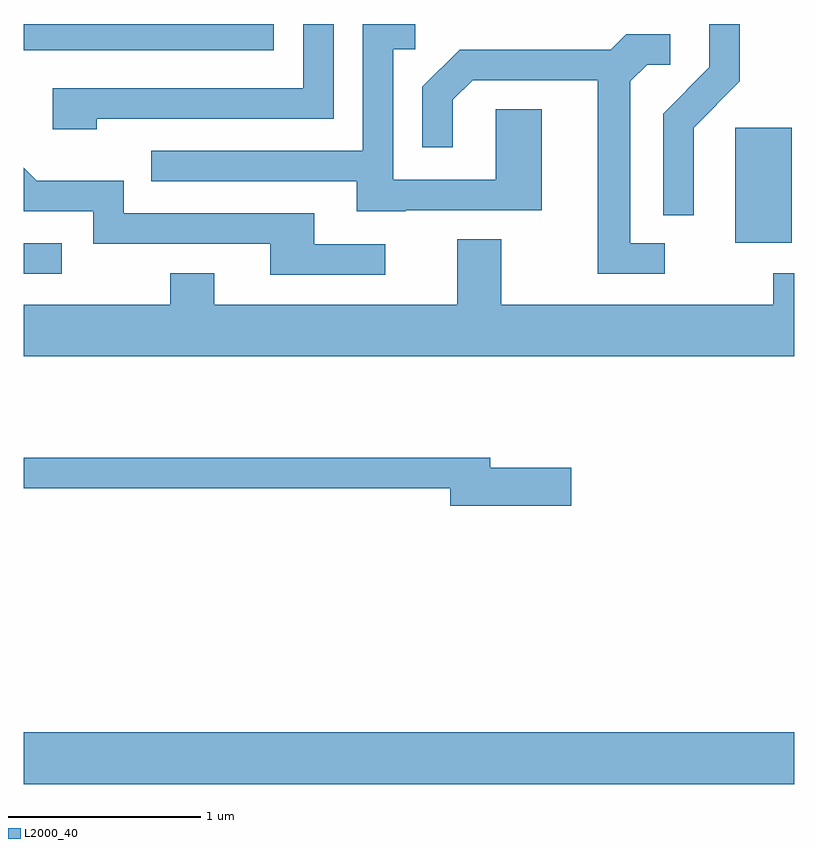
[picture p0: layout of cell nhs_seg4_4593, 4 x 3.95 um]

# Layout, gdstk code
import gdstk
lib = gdstk.Library(unit=1e-6, precision=1e-09)
def R(c, l, rs):  # rectangles x0, y0, x1, y1
    for r in rs: c.add(gdstk.rectangle(r[:2], r[2:], *l))
def P(c, l, *ps):  # polygons
    for p in ps: c.add(gdstk.Polygon(p, *l))
L2000_40 = (2000, 40)

nhs_seg4_4593 = lib.new_cell('nhs_seg4_4593')
R(nhs_seg4_4593, L2000_40, [(319.611,1328.036,323.611,1328.304), (319.611,1330.686,319.808,1330.844), (323.306,1330.846,323.599,1331.444), (319.611,1331.846,320.909,1331.982)])
P(nhs_seg4_4593, L2000_40, [(319.989,1331.491),(321.219,1331.491),(321.219,1331.982),(321.061,1331.982),(321.061,1331.649),(319.761,1331.649),(319.761,1331.436),(319.989,1331.436)],
  [(323.089,1331.444),(323.329,1331.684),(323.329,1331.982),(323.171,1331.982),(323.171,1331.757),(322.931,1331.517),(322.931,1330.988),(323.089,1330.988)],
  [(321.595,1331.016),(322.299,1331.016),(322.299,1331.539),(322.061,1331.539),(322.061,1331.174),(321.529,1331.174),(321.529,1331.851),(321.643,1331.851),(321.643,1331.982),(321.371,1331.982),(321.371,1331.324),(320.273,1331.324),(320.273,1331.166),(321.341,1331.166),(321.341,1331.011),(321.595,1331.011)],
  [(322.938,1330.844),(322.759,1330.844),(322.759,1331.684),(322.847,1331.771),(322.968,1331.771),(322.968,1331.929),(322.739,1331.929),(322.659,1331.849),(321.874,1331.849),(321.681,1331.657),(321.681,1331.343),(321.839,1331.343),(321.839,1331.589),(321.942,1331.691),(322.591,1331.691),(322.591,1330.686),(322.938,1330.686)],
  [(321.488,1330.839),(321.119,1330.839),(321.119,1330.999),(320.129,1330.999),(320.129,1331.169),(319.677,1331.169),(319.611,1331.235),(319.611,1331.011),(319.971,1331.011),(319.971,1330.841),(320.891,1330.841),(320.891,1330.681),(321.488,1330.681)],
  [(323.611,1330.689),(323.501,1330.689),(323.501,1330.524),(322.089,1330.524),(322.089,1330.864),(321.861,1330.864),(321.861,1330.524),(320.599,1330.524),(320.599,1330.689),(320.371,1330.689),(320.371,1330.524),(319.611,1330.524),(319.611,1330.256),(323.611,1330.256)],
  [(322.454,1329.679),(322.034,1329.679),(322.034,1329.729),(319.611,1329.729),(319.611,1329.571),(321.826,1329.571),(321.826,1329.481),(322.454,1329.481)])

lib.write_gds('nhs_seg4_4593.gds')
